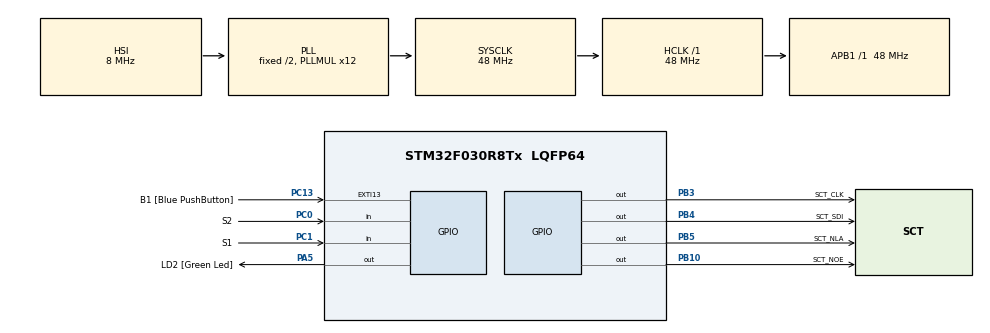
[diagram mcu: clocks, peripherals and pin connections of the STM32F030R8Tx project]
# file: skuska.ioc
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Mcu.Family=STM32F0
Mcu.Name=STM32F030R8Tx
Mcu.Package=LQFP64
PA13.GPIO_Label=TMS
PA13.Mode=Serial_Wire
PA13.Signal=SYS_SWDIO
PA14.GPIO_Label=TCK
PA14.Mode=Serial_Wire
PA14.Signal=SYS_SWCLK
PA2.GPIO_Label=USART_TX
PA2.GPIO_Mode=GPIO_MODE_AF_PP
PA2.GPIO_PuPd=GPIO_NOPULL
PA2.GPIO_Speed=GPIO_SPEED_FREQ_LOW
PA2.Signal=USART2_TX
PA3.GPIO_Label=USART_RX
PA3.GPIO_Mode=GPIO_MODE_AF_PP
PA3.GPIO_PuPd=GPIO_NOPULL
PA3.GPIO_Speed=GPIO_SPEED_FREQ_LOW
PA3.Signal=USART2_RX
PA5.GPIO_Label=LD2 [Green Led]
PA5.GPIO_Mode=GPIO_MODE_OUTPUT_PP
PA5.GPIO_PuPd=GPIO_NOPULL
PA5.GPIO_Speed=GPIO_SPEED_FREQ_LOW
PA5.Signal=GPIO_Output
PB10.GPIO_Label=SCT_NOE
PB10.Signal=GPIO_Output
PB3.GPIO_Label=SCT_CLK
PB3.Signal=GPIO_Output
PB4.GPIO_Label=SCT_SDI
PB4.Signal=GPIO_Output
PB5.GPIO_Label=SCT_NLA
PB5.Signal=GPIO_Output
PC0.GPIO_Label=S2
PC0.GPIO_PuPd=GPIO_PULLUP
PC0.Signal=GPIO_Input
PC1.GPIO_Label=S1
PC1.GPIO_PuPd=GPIO_PULLUP
PC1.Signal=GPIO_Input
PC13.GPIO_Label=B1 [Blue PushButton]
PC13.GPIO_ModeDefaultEXTI=GPIO_MODE_IT_FALLING
PC13.Signal=GPXTI13
PC14-OSC32_IN.Mode=LSE-External-Oscillator
PC14-OSC32_IN.Signal=RCC_OSC32_IN
PC15-OSC32_OUT.Mode=LSE-External-Oscillator
PC15-OSC32_OUT.Signal=RCC_OSC32_OUT
PF0-OSC_IN.Mode=HSE-External-Clock-Source
PF0-OSC_IN.Signal=RCC_OSC_IN
PF1-OSC_OUT.Signal=RCC_OSC_OUT
ProjectManager.HeapSize=0x200
ProjectManager.StackSize=0x400
ProjectManager.TargetToolchain=STM32CubeIDE
RCC.AHBFreq_Value=48000000
RCC.APB1Freq_Value=48000000
RCC.APB1TimFreq_Value=48000000
RCC.HCLKFreq_Value=48000000
RCC.PLLMUL=RCC_PLL_MUL12
RCC.SYSCLKFreq_VALUE=48000000
RCC.SYSCLKSource=RCC_SYSCLKSOURCE_PLLCLK
board=NUCLEO-F030R8

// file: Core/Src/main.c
/* USER CODE BEGIN Header */
/**
 ******************************************************************************
 * @file           : main.c
 * @brief          : Main program body
 ******************************************************************************
 * @attention
 *
 * <h2><center>&copy; Copyright (c) 2021 STMicroelectronics.
 * All rights reserved.</center></h2>
 *
 * This software component is licensed by ST under BSD 3-Clause license,
 * the "License"; You may not use this file except in compliance with the
 * License. You may obtain a copy of the License at:
 *                        opensource.org/licenses/BSD-3-Clause
 *
 ******************************************************************************
 */
/* USER CODE END Header */
#include "main.h"

/* USER CODE BEGIN Includes */
#include "sct.h"
/* USER CODE END Includes */

void SystemClock_Config(void);
static void MX_GPIO_Init(void);

int main(void)
{

	/* MCU Configuration--------------------------------------------------------*/

	/* Reset of all peripherals, Initializes the Flash interface and the Systick. */
	HAL_Init();

	/* Configure the system clock */
	SystemClock_Config();

	/* Initialize all configured peripherals */
	MX_GPIO_Init();
	/* USER CODE BEGIN 2 */
	sct_init();
	/* USER CODE END 2 */

	/* Infinite loop */
	while (1)
	{

		/* USER CODE BEGIN 3 */

		static enum { START, STOP, RESET, SHOW, HIDE } state = RESET; // stavovy automat, defaut cas 000
		static uint32_t tick; // systick casovac
		static uint16_t cas = 0; // cas pre stopky
		static uint16_t medzicas = 0; // medzicas

		if (HAL_GPIO_ReadPin(S2_GPIO_Port, S2_Pin) == 0)
		{
			HAL_Delay(200);
			if (state == START)
			{
				medzicas = cas;
				state = STOP;	// zastavenie stopiek
			}
			else if (state == STOP)
			{
				state = RESET;	// reset stopiek
			}
			else if (state == RESET)
			{
				state = START;	// start stopiek
			}
			else
			{
				state = START;
			}
		}
		else if (HAL_GPIO_ReadPin(S1_GPIO_Port, S1_Pin) == 0)
		{
			HAL_Delay(200);
			if (state == SHOW)
			{
				state = HIDE;	// skrytie medzicasu
			}
			else if (state == HIDE)
			{
				medzicas = cas;
				state = SHOW;	// zobrazenie medzicasu
			}
			else
			{
				medzicas = cas;
				state = SHOW;
			}
		}

		if (tick+100 <= HAL_GetTick())
		{
			cas++;
			tick = HAL_GetTick();
		}

		if (state == START)
		{
			sct_value(cas);
		}
		if (state == STOP)
		{
			sct_value(medzicas);
		}
		if (state == RESET)
		{
			cas = 0;
			sct_value(0);
		}
		if (state == SHOW)
		{
			sct_value(medzicas);
		}
		if (state == HIDE)
		{
			sct_value(cas);
		}

		if (cas == 999)
		{
			cas = 0; 			// nulovanie stopiek
		}

	}
	/* USER CODE END 3 */
}

void SystemClock_Config(void)
{
	RCC_OscInitTypeDef RCC_OscInitStruct = {0};
	RCC_ClkInitTypeDef RCC_ClkInitStruct = {0};

	/** Initializes the RCC Oscillators according to the specified parameters
	 * in the RCC_OscInitTypeDef structure.
	 */
	RCC_OscInitStruct.OscillatorType = RCC_OSCILLATORTYPE_HSI;
	RCC_OscInitStruct.HSIState = RCC_HSI_ON;
	RCC_OscInitStruct.HSICalibrationValue = RCC_HSICALIBRATION_DEFAULT;
	RCC_OscInitStruct.PLL.PLLState = RCC_PLL_ON;
	RCC_OscInitStruct.PLL.PLLSource = RCC_PLLSOURCE_HSI;
	RCC_OscInitStruct.PLL.PLLMUL = RCC_PLL_MUL12;
	RCC_OscInitStruct.PLL.PREDIV = RCC_PREDIV_DIV1;
	if (HAL_RCC_OscConfig(&RCC_OscInitStruct) != HAL_OK)
	{
		Error_Handler();
	}
	/** Initializes the CPU, AHB and APB buses clocks
	 */
	RCC_ClkInitStruct.ClockType = RCC_CLOCKTYPE_HCLK|RCC_CLOCKTYPE_SYSCLK
			|RCC_CLOCKTYPE_PCLK1;
	RCC_ClkInitStruct.SYSCLKSource = RCC_SYSCLKSOURCE_PLLCLK;
	RCC_ClkInitStruct.AHBCLKDivider = RCC_SYSCLK_DIV1;
	RCC_ClkInitStruct.APB1CLKDivider = RCC_HCLK_DIV1;

	if (HAL_RCC_ClockConfig(&RCC_ClkInitStruct, FLASH_LATENCY_1) != HAL_OK)
	{
		Error_Handler();
	}
}

static void MX_GPIO_Init(void)
{
	GPIO_InitTypeDef GPIO_InitStruct = {0};

	/* GPIO Ports Clock Enable */
	__HAL_RCC_GPIOC_CLK_ENABLE();
	__HAL_RCC_GPIOF_CLK_ENABLE();
	__HAL_RCC_GPIOA_CLK_ENABLE();
	__HAL_RCC_GPIOB_CLK_ENABLE();

	/*Configure GPIO pin Output Level */
	HAL_GPIO_WritePin(LD2_GPIO_Port, LD2_Pin, GPIO_PIN_RESET);

	/*Configure GPIO pin Output Level */
	HAL_GPIO_WritePin(GPIOB, SCT_NOE_Pin|SCT_CLK_Pin|SCT_SDI_Pin|SCT_NLA_Pin, GPIO_PIN_RESET);

	/*Configure GPIO pin : B1_Pin */
	GPIO_InitStruct.Pin = B1_Pin;
	GPIO_InitStruct.Mode = GPIO_MODE_IT_FALLING;
	GPIO_InitStruct.Pull = GPIO_NOPULL;
	HAL_GPIO_Init(B1_GPIO_Port, &GPIO_InitStruct);

	/*Configure GPIO pins : S2_Pin S1_Pin */
	GPIO_InitStruct.Pin = S2_Pin|S1_Pin;
	GPIO_InitStruct.Mode = GPIO_MODE_INPUT;
	GPIO_InitStruct.Pull = GPIO_PULLUP;
	HAL_GPIO_Init(GPIOC, &GPIO_InitStruct);

	/*Configure GPIO pins : USART_TX_Pin USART_RX_Pin */
	GPIO_InitStruct.Pin = USART_TX_Pin|USART_RX_Pin;
	GPIO_InitStruct.Mode = GPIO_MODE_AF_PP;
	GPIO_InitStruct.Pull = GPIO_NOPULL;
	GPIO_InitStruct.Speed = GPIO_SPEED_FREQ_LOW;
	GPIO_InitStruct.Alternate = GPIO_AF1_USART2;
	HAL_GPIO_Init(GPIOA, &GPIO_InitStruct);

	/*Configure GPIO pin : LD2_Pin */
	GPIO_InitStruct.Pin = LD2_Pin;
	GPIO_InitStruct.Mode = GPIO_MODE_OUTPUT_PP;
	GPIO_InitStruct.Pull = GPIO_NOPULL;
	GPIO_InitStruct.Speed = GPIO_SPEED_FREQ_LOW;
	HAL_GPIO_Init(LD2_GPIO_Port, &GPIO_InitStruct);

	/*Configure GPIO pins : SCT_NOE_Pin SCT_CLK_Pin SCT_SDI_Pin SCT_NLA_Pin */
	GPIO_InitStruct.Pin = SCT_NOE_Pin|SCT_CLK_Pin|SCT_SDI_Pin|SCT_NLA_Pin;
	GPIO_InitStruct.Mode = GPIO_MODE_OUTPUT_PP;
	GPIO_InitStruct.Pull = GPIO_NOPULL;
	GPIO_InitStruct.Speed = GPIO_SPEED_FREQ_LOW;
	HAL_GPIO_Init(GPIOB, &GPIO_InitStruct);

}

void Error_Handler(void)
{
	__disable_irq();
	while (1)
	{
	}
}

/************************ (C) COPYRIGHT STMicroelectronics *****END OF FILE****/
